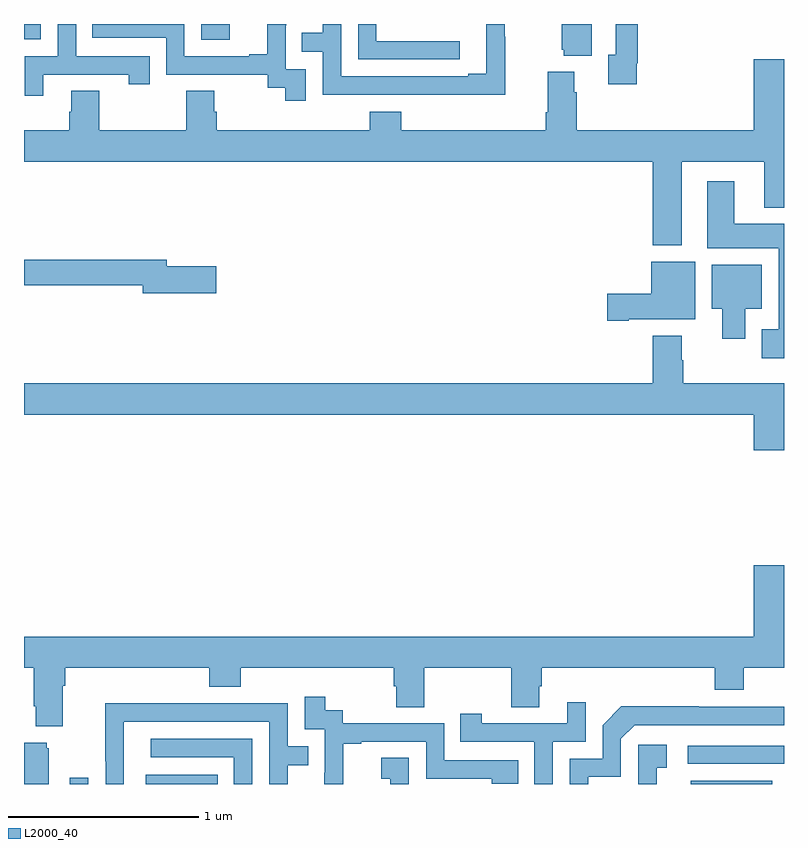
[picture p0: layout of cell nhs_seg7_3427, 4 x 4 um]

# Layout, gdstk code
import gdstk
lib = gdstk.Library(unit=1e-6, precision=1e-09)
def R(c, l, rs):  # rectangles x0, y0, x1, y1
    for r in rs: c.add(gdstk.rectangle(r[:2], r[2:], *l))
def P(c, l, *ps):  # polygons
    for p in ps: c.add(gdstk.Polygon(p, *l))
L2000_40 = (2000, 40)

nhs_seg7_3427 = lib.new_cell('nhs_seg7_3427')
R(nhs_seg7_3427, L2000_40, [(329.241,1004,329.337,1004.032), (329.642,1004,330.02,1004.05), (332.51,1004,332.938,1004.017), (332.493,1004.106,333,1004.202), (329.934,1007.916,330.082,1008), (329,1007.919,329.088,1008)])
P(nhs_seg7_3427, L2000_40, [(331.987,1008),(331.829,1008),(331.829,1007.865),(331.841,1007.865),(331.841,1007.834),(331.987,1007.834)],
  [(329.101,1007.733),(329.552,1007.733),(329.552,1007.682),(329.663,1007.682),(329.663,1007.829),(329.274,1007.829),(329.274,1008),(329.178,1008),(329.178,1007.829),(329.004,1007.829),(329.004,1007.622),(329.101,1007.622)],
  [(330.483,1007.763),(330.378,1007.763),(330.378,1007.993),(330.38,1007.993),(330.38,1008),(330.281,1008),(330.281,1007.842),(330.185,1007.842),(330.185,1007.829),(329.844,1007.829),(329.844,1008),(329.359,1008),(329.359,1007.928),(329.748,1007.928),(329.748,1007.733),(330.282,1007.733),(330.282,1007.665),(330.375,1007.665),(330.375,1007.595),(330.483,1007.595)],
  [(331.533,1007.933),(331.53,1007.933),(331.53,1008),(331.434,1008),(331.434,1007.737),(331.337,1007.737),(331.337,1007.724),(330.669,1007.724),(330.669,1008),(330.573,1008),(330.573,1007.954),(330.463,1007.954),(330.463,1007.853),(330.573,1007.853),(330.573,1007.628),(331.069,1007.628),(331.069,1007.627),(331.533,1007.627)],
  [(332.224,1007.794),(332.231,1007.794),(332.231,1008),(332.115,1008),(332.115,1007.838),(332.075,1007.838),(332.075,1007.682),(332.224,1007.682)],
  [(331.294,1007.91),(330.855,1007.91),(330.855,1008),(330.759,1008),(330.759,1007.814),(331.294,1007.814)],
  [(332.461,1007.276),(332.897,1007.276),(332.897,1007.033),(333,1007.033),(333,1007.815),(332.84,1007.815),(332.84,1007.44),(331.91,1007.44),(331.91,1007.642),(331.897,1007.642),(331.897,1007.749),(331.757,1007.749),(331.757,1007.536),(331.745,1007.536),(331.745,1007.44),(330.986,1007.44),(330.986,1007.539),(330.821,1007.539),(330.821,1007.44),(330.014,1007.44),(330.014,1007.538),(330.001,1007.538),(330.001,1007.648),(329.854,1007.648),(329.854,1007.44),(329.397,1007.44),(329.397,1007.648),(329.249,1007.648),(329.249,1007.538),(329.237,1007.538),(329.237,1007.44),(329,1007.44),(329,1007.276),(332.309,1007.276),(332.309,1006.835),(332.461,1006.835)],
  [(333,1006.948),(332.737,1006.948),(332.737,1007.173),(332.597,1007.173),(332.597,1006.82),(332.972,1006.82),(332.972,1006.393),(332.882,1006.393),(332.882,1006.241),(333,1006.241)],
  [(330.013,1006.724),(329.752,1006.724),(329.752,1006.76),(329,1006.76),(329,1006.624),(329.624,1006.624),(329.624,1006.582),(330.013,1006.582)],
  [(332.182,1006.445),(332.533,1006.445),(332.533,1006.75),(332.3,1006.75),(332.3,1006.58),(332.07,1006.58),(332.07,1006.438),(332.182,1006.438)],
  [(332.797,1006.502),(332.884,1006.502),(332.884,1006.732),(332.621,1006.732),(332.621,1006.502),(332.675,1006.502),(332.675,1006.344),(332.797,1006.344)],
  [(333,1006.108),(332.469,1006.108),(332.469,1006.229),(332.461,1006.229),(332.461,1006.36),(332.309,1006.36),(332.309,1006.108),(329,1006.108),(329,1005.944),(332.84,1005.944),(332.84,1005.756),(333,1005.756)],
  [(329.203,1004.516),(329.216,1004.516),(329.216,1004.612),(329.975,1004.612),(329.975,1004.513),(330.14,1004.513),(330.14,1004.612),(330.947,1004.612),(330.947,1004.514),(330.959,1004.514),(330.959,1004.404),(331.107,1004.404),(331.107,1004.612),(331.564,1004.612),(331.564,1004.404),(331.711,1004.404),(331.711,1004.514),(331.724,1004.514),(331.724,1004.612),(332.636,1004.612),(332.636,1004.495),(332.788,1004.495),(332.788,1004.612),(333,1004.612),(333,1005.151),(332.84,1005.151),(332.84,1004.776),(329,1004.776),(329,1004.612),(329.051,1004.612),(329.051,1004.41),(329.063,1004.41),(329.063,1004.303),(329.203,1004.303)],
  [(330.68,1004.211),(330.775,1004.211),(330.775,1004.223),(331.116,1004.223),(331.116,1004.028),(331.461,1004.028),(331.461,1004.001),(331.601,1004.001),(331.601,1004.124),(331.212,1004.124),(331.212,1004.319),(330.678,1004.319),(330.678,1004.388),(330.586,1004.388),(330.586,1004.458),(330.477,1004.458),(330.477,1004.289),(330.582,1004.289),(330.582,1004.06),(330.581,1004.06),(330.581,1004),(330.68,1004)],
  [(331.782,1004.223),(331.956,1004.223),(331.956,1004.431),(331.859,1004.431),(331.859,1004.319),(331.408,1004.319),(331.408,1004.371),(331.297,1004.371),(331.297,1004.223),(331.686,1004.223),(331.686,1004),(331.782,1004)],
  [(329.526,1004.328),(330.291,1004.328),(330.291,1004),(330.387,1004),(330.387,1004.098),(330.497,1004.098),(330.497,1004.199),(330.387,1004.199),(330.387,1004.424),(329.891,1004.424),(329.891,1004.426),(329.428,1004.426),(329.428,1004.119),(329.43,1004.119),(329.43,1004),(329.526,1004)],
  [(331.969,1004.037),(332.142,1004.037),(332.142,1004.238),(332.214,1004.31),(333,1004.31),(333,1004.406),(332.552,1004.406),(332.552,1004.408),(332.144,1004.408),(332.046,1004.31),(332.046,1004.133),(331.872,1004.133),(331.872,1004),(331.969,1004)],
  [(330.201,1004.238),(329.667,1004.238),(329.667,1004.142),(330.105,1004.142),(330.105,1004),(330.201,1004)],
  [(329.131,1004.187),(329.12,1004.187),(329.12,1004.218),(329,1004.218),(329,1004),(329.131,1004)],
  [(332.33,1004.085),(332.383,1004.085),(332.383,1004.206),(332.232,1004.206),(332.232,1004),(332.33,1004)],
  [(331.026,1004.137),(330.879,1004.137),(330.879,1004.027),(330.928,1004.027),(330.928,1004),(331.026,1004)])

lib.write_gds('nhs_seg7_3427.gds')
